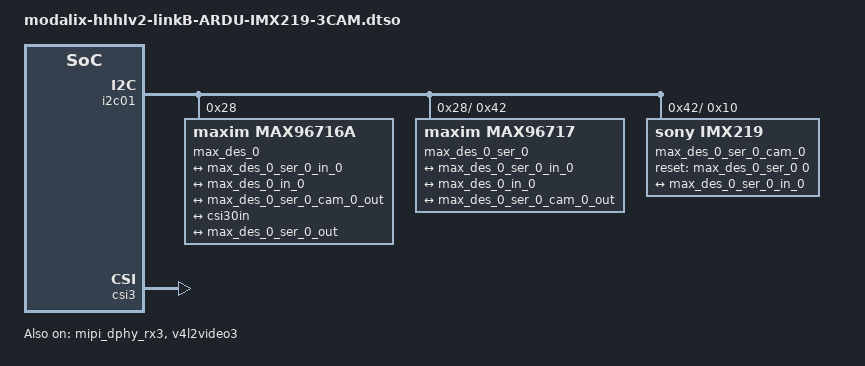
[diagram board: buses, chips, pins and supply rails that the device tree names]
// SPDX-License-Identifier: (GPL-2.0+ OR MIT)
/*
 * Copyright (c) 2026 SiMa ai
 */

/dts-v1/;
/plugin/;

&{/} {
	max_des_0_ser_0_cam_0_xclk: max_des_0_ser_0_cam_0_xclk {
		status = "okay";
		compatible = "fixed-clock";
		#clock-cells = <0>;
		clock-frequency = <24000000>;
	};
};

&i2c01 {
        max_des_0: gmsl-deserializer@28 {
                #address-cells = <1>;
                #size-cells = <0>;

                compatible = "maxim,max96716a";
                reg = <0x28>;
        };
};

&max_des_0 {
        i2c-alias-pool = <0x42 0x43>;
        max_des_0_i2c_adapter: i2c-atr {
                #address-cells = <1>;
                #size-cells = <0>;
        };

        ports {
                #address-cells = <1>;
                #size-cells = <0>;
        };
};

&max_des_0 {
        ports {
                port@3 {
                        reg = <3>;
                        max_des_0_phy_1_out: endpoint@0 {
                                reg = <0>;
                                clock-lanes = <0>;
                                data-lanes = <1 2 3 4>;
                                link-frequencies = /bits/ 64 <500000000>;
                        };
                };
        };
};

&csi3 {
    status = "okay";
};

&csi30in{
    clock-lanes = <0>;
    data-lanes = <1 2 3 4>;
    link-frequencies = /bits/ 64 <500000000>;
    remote-endpoint = <&max_des_0_phy_1_out>;
};

&max_des_0_phy_1_out {
        remote-endpoint = <&csi30in>;
};

&max_des_0_i2c_adapter {
        max_des_0_i2c_1: i2c@1 {
                #address-cells = <1>;
                #size-cells = <0>;
                reg = <0x1>;
        };
};

&max_des_0_i2c_1 {
        max_des_0_ser_0: gmsl-serializer@42 {
                #address-cells = <1>;
                #size-cells = <0>;
                #gpio-cells = <2>;

                compatible = "maxim,max96717";
                reg = <0x42>;

                gpio-controller;
                gpio-ranges = <&max_des_0_ser_0 0 0 11>;
        };
};

&max_des_0_ser_0 {
        i2c-alias-pool = <0x10 0x11>;
        i2c-atr {
                #address-cells = <1>;
                #size-cells = <0>;

                max_des_0_ser_0_i2c_0: i2c@0 {
                        #address-cells = <1>;
                        #size-cells = <0>;
                        reg = <0x0>;
                };
        };

        ports {
                #address-cells = <1>;
                #size-cells = <0>;

                port@1 {
                        reg = <1>;
                        max_des_0_ser_0_out: endpoint@0 {
                                reg = <0>;
                                remote-endpoint = <&max_des_0_in_0>;
                        };
                };
        };
};

&max_des_0 {
        ports {
                port@1 {
                        reg = <1>;
                        max_des_0_in_0: endpoint@0 {
                                reg = <0>;
                                remote-endpoint = <&max_des_0_ser_0_out>;
                        };
                };
        };
};

&max_des_0_ser_0_i2c_0 {
        max_des_0_ser_0_cam_0: imx219@10 {
                compatible = "sony,imx219";
                reg = <0x10>;

                reset-gpios = <&max_des_0_ser_0 0 0>;

                clocks = <&max_des_0_ser_0_cam_0_xclk>;
                clock-names = "xclk";

                rotation = <180>;
                orientation = <2>;

                port@1 {
                        max_des_0_ser_0_cam_0_out: endpoint@0 {
                                clock-lanes = <0>;
                                data-lanes = <1 2 3 4>;
                                link-frequencies = /bits/ 64 <364000000>;
                                remote-endpoint = <&max_des_0_ser_0_in_0>;
                                clock-noncontinuous;
                        };
                };
        };
};

&max_des_0_ser_0 {
        ports {
                port@0 {
                        reg = <0>;
                        max_des_0_ser_0_in_0: endpoint@0 {
                                reg = <0>;
                                clock-lanes = <0>;
                                data-lanes = <1 2 3 4>;
                                link-frequencies = /bits/ 64 <364000000>;
                                remote-endpoint = <&max_des_0_ser_0_cam_0_out>;
                                clock-noncontinuous;
                        };
                };
        };
};

&axi_vdma3 {
    status = "okay";
};

&mipi_dphy_rx3 {
    status = "okay";
};

&v4l2video3 {
    status = "okay";
};

&v4l2vdma3 {
    status = "okay";
};
